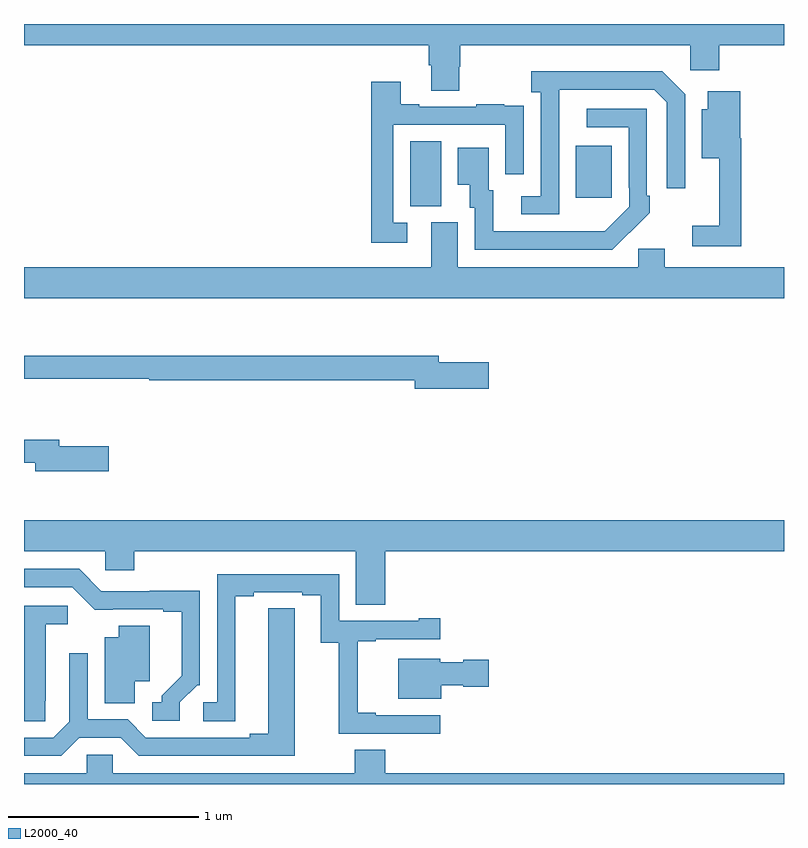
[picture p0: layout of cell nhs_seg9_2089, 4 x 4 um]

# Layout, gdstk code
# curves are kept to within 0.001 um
import gdstk
lib = gdstk.Library(unit=1e-6, precision=1e-09)
def R(c, l, rs):  # rectangles x0, y0, x1, y1
    for r in rs: c.add(gdstk.rectangle(r[:2], r[2:], *l))
def P(c, l, *ps):  # polygons
    for p in ps: c.add(gdstk.Polygon(p, *l))
L2000_40 = (2000, 40)

nhs_seg9_2089 = lib.new_cell('nhs_seg9_2089')
R(nhs_seg9_2089, L2000_40, [(231.032,1227.541,231.196,1227.884), (231.905,1227.585,232.093,1227.859)])
P(nhs_seg9_2089, L2000_40, [(231.291,1228.275),(231.296,1228.275),(231.296,1228.388),(232.506,1228.388),(232.506,1228.257),(232.658,1228.257),(232.658,1228.388),(233,1228.388),(233,1228.5),(229,1228.5),(229,1228.388),(231.131,1228.388),(231.131,1228.282),(231.143,1228.282),(231.143,1228.15),(231.291,1228.15)],
  [(231.816,1227.955),(231.817,1228.155),(232.317,1228.155),(232.383,1228.089),(232.383,1227.636),(232.479,1227.636),(232.479,1228.131),(232.358,1228.252),(231.669,1228.252),(231.669,1228.142),(231.72,1228.142),(231.72,1227.594),(231.618,1227.594),(231.618,1227.498),(231.816,1227.498)],
  [(231.016,1227.453),(230.943,1227.453),(230.943,1227.969),(231.534,1227.969),(231.534,1227.708),(231.63,1227.708),(231.63,1227.962),(231.629,1227.962),(231.629,1228.071),(231.527,1228.071),(231.527,1228.078),(231.379,1228.078),(231.379,1228.065),(231.079,1228.065),(231.079,1228.078),(230.983,1228.078),(230.983,1228.195),(230.827,1228.195),(230.827,1227.348),(231.016,1227.348)],
  [(232.775,1227.898),(232.769,1227.898),(232.769,1228.147),(232.598,1228.147),(232.598,1228.051),(232.568,1228.051),(232.568,1227.794),(232.658,1227.794),(232.658,1227.439),(232.518,1227.439),(232.518,1227.33),(232.775,1227.33)],
  [(232.187,1227.403),(232.188,1227.402),(232.293,1227.507),(232.293,1227.595),(232.278,1227.595),(232.278,1228.053),(231.963,1228.053),(231.963,1227.957),(232.182,1227.957),(232.182,1227.637),(232.185,1227.637),(232.185,1227.537),(232.057,1227.409),(231.469,1227.408),(231.469,1227.624),(231.445,1227.624),(231.445,1227.85),(231.284,1227.85),(231.284,1227.653),(231.347,1227.653),(231.347,1227.534),(231.372,1227.534),(231.372,1227.312),(232.096,1227.312)],
  [(233,1227.22),(232.372,1227.22),(232.372,1227.318),(232.233,1227.318),(232.233,1227.22),(231.283,1227.22),(231.283,1227.456),(231.143,1227.456),(231.143,1227.22),(229,1227.22),(229,1227.056),(233,1227.056)],
  [(231.445,1226.721),(231.184,1226.721),(231.184,1226.755),(229,1226.755),(229,1226.634),(229.66,1226.634),(229.66,1226.626),(231.056,1226.626),(231.056,1226.579),(231.445,1226.579)],
  [(229.447,1226.277),(229.186,1226.277),(229.186,1226.311),(229,1226.311),(229,1226.19),(229.058,1226.19),(229.058,1226.147),(229.447,1226.147)],
  [(230.9,1225.724),(233,1225.724),(233,1225.888),(229,1225.888),(229,1225.724),(229.428,1225.724),(229.428,1225.626),(229.58,1225.626),(229.58,1225.724),(230.747,1225.724),(230.747,1225.444),(230.9,1225.444)],
  [(229.821,1224.93),(229.911,1225.02),(229.926,1225.02),(229.926,1225.517),(229.663,1225.517),(229.663,1225.515),(229.407,1225.515),(229.29,1225.632),(229,1225.632),(229,1225.536),(229.254,1225.536),(229.372,1225.418),(229.733,1225.419),(229.733,1225.407),(229.829,1225.407),(229.829,1225.07),(229.724,1224.965),(229.724,1224.93),(229.674,1224.93),(229.674,1224.834),(229.821,1224.834)],
  [(231.19,1224.861),(230.851,1224.861),(230.851,1224.874),(230.756,1224.874),(230.756,1225.251),(230.851,1225.251),(230.851,1225.263),(231.19,1225.263),(231.19,1225.372),(231.077,1225.372),(231.077,1225.359),(230.658,1225.359),(230.658,1225.605),(230.016,1225.605),(230.016,1224.93),(229.944,1224.93),(229.944,1224.829),(230.113,1224.829),(230.113,1225.489),(230.209,1225.489),(230.209,1225.509),(230.465,1225.509),(230.465,1225.494),(230.561,1225.494),(230.561,1225.243),(230.656,1225.243),(230.656,1224.765),(231.19,1224.765)],
  [(229.113,1224.937),(229.114,1224.937),(229.114,1225.34),(229.231,1225.34),(229.231,1225.437),(229,1225.437),(229,1224.829),(229.113,1224.829)],
  [(229.291,1224.744),(229.509,1224.744),(229.605,1224.648),(230.425,1224.648),(230.424,1225.424),(230.285,1225.424),(230.285,1224.764),(230.189,1224.764),(230.189,1224.744),(229.641,1224.744),(229.545,1224.84),(229.335,1224.84),(229.335,1225.189),(229.239,1225.189),(229.239,1224.828),(229.155,1224.744),(229,1224.744),(229,1224.648),(229.195,1224.648)],
  [(229.582,1225.04),(229.663,1225.04),(229.663,1225.334),(229.499,1225.334),(229.499,1225.273),(229.424,1225.273),(229.424,1224.925),(229.582,1224.925)],
  [(231.196,1225.019),(231.312,1225.019),(231.312,1225.012),(231.445,1225.012),(231.445,1225.154),(231.312,1225.154),(231.312,1225.141),(231.192,1225.141),(231.192,1225.159),(230.969,1225.159),(230.969,1224.95),(231.196,1224.95)],
  [(233,1224.556),(230.9,1224.556),(230.9,1224.68),(230.74,1224.68),(230.74,1224.556),(229.467,1224.556),(229.467,1224.654),(229.329,1224.654),(229.329,1224.556),(229,1224.556),(229,1224.5),(233,1224.5)])

lib.write_gds('nhs_seg9_2089.gds')
